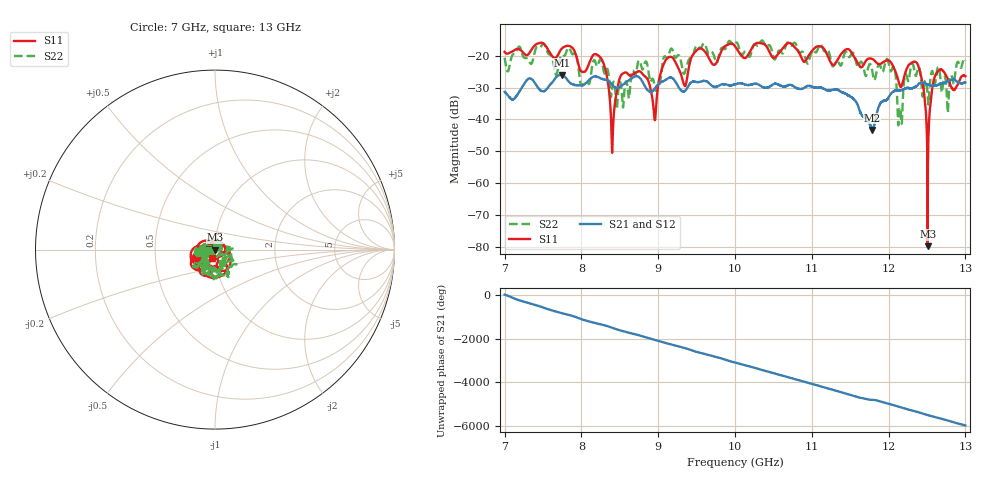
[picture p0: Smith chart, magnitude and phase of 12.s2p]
[Version] 2.0
! Rohde & Schwarz Vector Network Analyzer
! Rohde-Schwarz,ZNL20-2Port,1323001220200009,1.71.1.10-23.02.1.238
! Port Assignments:
! Nominal Port -> Actual Test Port
!  1 -> 1
!  2 -> 2
! Created: GMT+3 2024-09-24 16:05:59
# Hz S DB R 50
[Number of Ports] 2
[Two-Port Data Order] 21_12
! freq[Hz]  S11[mag dB]  S11[ang]  S21[mag dB]  S21[ang]  S12[mag dB]  S12[ang]  S22[mag dB]  S22[ang]
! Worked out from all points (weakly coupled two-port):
!   6001 points, 7 GHz to 13 GHz, reference 50 ohm
!   highest |S21| = -26.03 dB at 7.746 GHz (marker M1); lowest = -43.3 dB at 11.79 GHz (marker M2)
!   lowest |S11| = -79.7 dB at 12.51 GHz (marker M3), VSWR 1.00, Z = 50 - j0.00224 ohm
!   |S11| at or under -10 dB: start of sweep to end of sweep
!   |S22| runs from -41.9 to -15.2 dB; largest |S21 - S12| = 0.00093
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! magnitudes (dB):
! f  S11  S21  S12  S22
! 7 GHz  -18.8  -31.4  -31.4  -20.7
! 7.746 GHz  -17.7  -26.0  -26.1  -19.7
! 8 GHz  -25.0  -29.3  -29.3  -29.2
! 8.261 GHz  -21.0  -27.2  -27.2  -21.4
! 8.405 GHz  -47.9  -29.3  -29.3  -29.4
! 8.54 GHz  -25.6  -29.1  -29.1  -36.1
! 8.752 GHz  -24.9  -26.8  -26.8  -21.5
! 8.949 GHz  -39.1  -30.6  -30.5  -28.9
! 9 GHz  -29.2  -29.0  -29.1  -29.9
! 9.168 GHz  -20.4  -26.9  -26.9  -17.8
! 9.345 GHz  -29.5  -31.1  -31.1  -25.4
! 9.513 GHz  -18.1  -28.3  -28.3  -16.8
! 10 GHz  -17.0  -29.0  -29.0  -16.2
! 11 GHz  -18.6  -29.7  -29.6  -18.6
! 11.79 GHz  -21.0  -43.3  -43.2  -24.5
! 12 GHz  -21.5  -33.1  -33.0  -22.2
! 12.15 GHz  -29.5  -30.9  -30.9  -36.5
! 12.37 GHz  -22.5  -29.5  -29.4  -24.8
! 12.51 GHz  -79.7  -29.0  -29.0  -33.0
! 12.63 GHz  -25.3  -29.3  -29.3  -24.7
! 12.77 GHz  -27.3  -28.0  -28.0  -37.8
! 13 GHz  -26.5  -28.4  -28.4  -21.6
